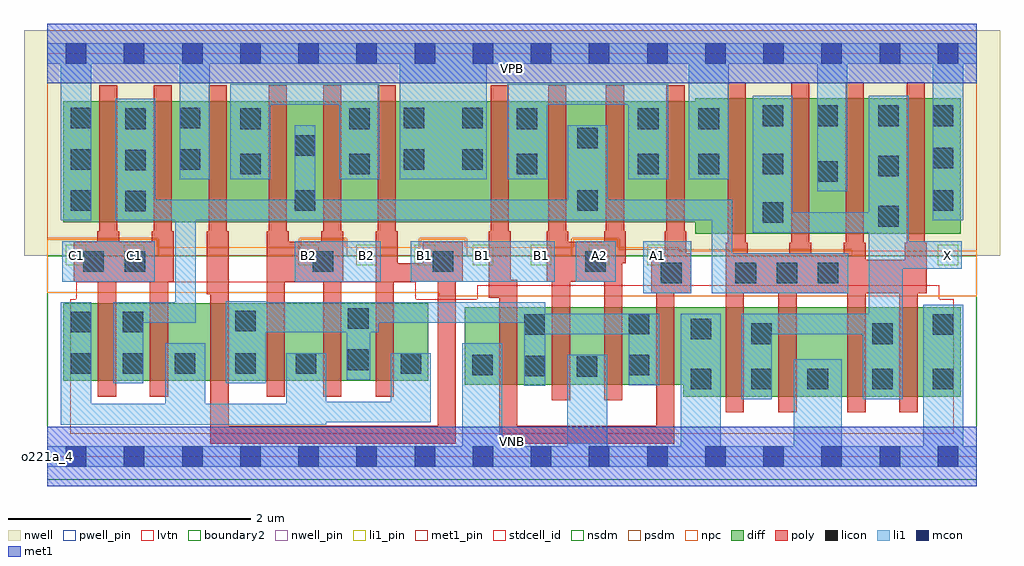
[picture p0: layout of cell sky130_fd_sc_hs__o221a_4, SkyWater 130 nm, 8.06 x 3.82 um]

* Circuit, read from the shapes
.subckt sky130_fd_sc_hs__o221a_4 A1 A2 B1 B2 C1 VGND VNB VPB VPWR X
XM1 n1 C1 n2 VNB sky130_fd_pr__nfet_01v8_lvt w=0.64 l=0.15 m=2
XM2 n3 B1 n2 VNB sky130_fd_pr__nfet_01v8_lvt w=0.64 l=0.15 m=2
XM3 n2 B2 n3 VNB sky130_fd_pr__nfet_01v8_lvt w=0.64 l=0.15 m=2
XM4 n3 A1 VGND VNB sky130_fd_pr__nfet_01v8_lvt w=0.64 l=0.15 m=2
XM5 VGND A2 n3 VNB sky130_fd_pr__nfet_01v8_lvt w=0.64 l=0.15 m=2
XM6 X n1 VGND VNB sky130_fd_pr__nfet_01v8_lvt w=0.74 l=0.15 m=4
XM7 n1 C1 VPWR VPB sky130_fd_pr__pfet_01v8 w=1 l=0.15 m=2
XM8 n4 B1 VPWR VPB sky130_fd_pr__pfet_01v8 w=1 l=0.15 m=2
XM9 n1 B2 n4 VPB sky130_fd_pr__pfet_01v8 w=1 l=0.15 m=2
XM10 n5 A1 VPWR VPB sky130_fd_pr__pfet_01v8 w=1 l=0.15 m=2
XM11 n1 A2 n5 VPB sky130_fd_pr__pfet_01v8 w=1 l=0.15 m=2
XM12 X n1 VPWR VPB sky130_fd_pr__pfet_01v8 w=1.12 l=0.15 m=4
.ends

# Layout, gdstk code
import gdstk
lib = gdstk.Library(unit=1e-6, precision=1e-09)
def R(c, l, rs):  # rectangles x0, y0, x1, y1
    for r in rs: c.add(gdstk.rectangle(r[:2], r[2:], *l))
def A(c, l, x, y, w, h, nx, ny, dx, dy):  # array of equal rectangles
    R(c, l, [(x+i*dx, y+j*dy, x+i*dx+w, y+j*dy+h) for i in range(nx) for j in range(ny)])
def P(c, l, *ps):  # polygons
    for p in ps: c.add(gdstk.Polygon(p, *l))
nwell_pin = (64, 16)
nwell = (64, 20)
diff = (65, 20)
poly = (66, 20)
licon = (66, 44)
li1_pin = (67, 16)
li1 = (67, 20)
mcon = (67, 44)
met1_pin = (68, 16)
met1 = (68, 20)
stdcell_id = (81, 4)
nsdm = (93, 44)
psdm = (94, 20)
npc = (95, 20)
pwell_pin = (122, 16)
lvtn = (125, 44)
boundary2 = (236, 0)

sky130_fd_sc_hs__o221a_4 = lib.new_cell('sky130_fd_sc_hs__o221a_4')
R(sky130_fd_sc_hs__o221a_4, nwell_pin, [(0,3.085,7.68,3.33)])
R(sky130_fd_sc_hs__o221a_4, nwell, [(-0.19,1.66,7.87,3.52)])
R(sky130_fd_sc_hs__o221a_4, diff, [(0.135,0.625,3.15,1.265)])
P(sky130_fd_sc_hs__o221a_4, diff, [(7.545,2.96),(5.355,2.96),(5.355,2.935),(0.135,2.935),(0.135,1.935),(5.355,1.935),(5.355,1.84),(7.545,1.84)],
  [(7.545,1.235),(3.45,1.235),(3.45,0.595),(5.255,0.595),(5.255,0.495),(7.545,0.495)])
P(sky130_fd_sc_hs__o221a_4, poly, [(1.045,1.86),(1.03,1.86),(1.03,3.065),(0.88,3.065),(0.88,1.86),(0.865,1.86),(0.865,1.775),(0.595,1.775),(0.595,1.86),(0.58,1.86),(0.58,3.065),(0.43,3.065),(0.43,1.86),(0.415,1.86),(0.415,1.775),(0.22,1.775),(0.22,1.445),(0.42,1.445),(0.42,0.495),(0.57,0.495),(0.57,1.445),(0.85,1.445),(0.85,0.495),(1,0.495),(1,1.445),(1.045,1.445)],
  [(2.445,1.86),(2.43,1.86),(2.43,3.065),(2.28,3.065),(2.28,1.86),(2.265,1.86),(2.265,1.775),(1.995,1.775),(1.995,1.86),(1.98,1.86),(1.98,3.065),(1.83,3.065),(1.83,1.86),(1.815,1.86),(1.815,0.495),(1.965,0.495),(1.965,1.445),(2.28,1.445),(2.28,0.495),(2.43,0.495),(2.43,1.445),(2.445,1.445)],
  [(3.435,1.775),(3.105,1.775),(3.105,1.595),(2.895,1.595),(2.895,1.86),(2.88,1.86),(2.88,3.065),(2.73,3.065),(2.73,1.86),(2.715,1.86),(2.715,0.495),(2.865,0.495),(2.865,1.445),(3.225,1.445),(3.225,0.255),(1.5,0.255),(1.5,1.86),(1.485,1.86),(1.485,3.065),(1.335,3.065),(1.335,1.86),(1.32,1.86),(1.32,1.34),(1.35,1.34),(1.35,0.105),(3.375,0.105),(3.375,1.445),(3.435,1.445)],
  [(4.78,1.86),(4.765,1.86),(4.765,3.065),(4.615,3.065),(4.615,1.86),(4.6,1.86),(4.6,1.775),(4.305,1.775),(4.305,1.86),(4.29,1.86),(4.29,3.065),(4.14,3.065),(4.14,1.86),(4.125,1.86),(4.125,1.445),(4.17,1.445),(4.17,0.465),(4.32,0.465),(4.32,1.445),(4.6,1.445),(4.6,0.465),(4.75,0.465),(4.75,1.595),(4.78,1.595)],
  [(7.265,1.765),(7.25,1.765),(7.25,3.09),(7.1,3.09),(7.1,1.765),(7.085,1.765),(7.085,1.625),(6.76,1.625),(6.76,1.765),(6.745,1.765),(6.745,3.09),(6.595,3.09),(6.595,1.765),(6.58,1.765),(6.58,1.68),(6.31,1.68),(6.31,1.765),(6.295,1.765),(6.295,3.09),(6.145,3.09),(6.145,1.765),(6.13,1.765),(6.13,1.68),(5.785,1.68),(5.785,1.765),(5.77,1.765),(5.77,3.09),(5.62,3.09),(5.62,1.765),(5.605,1.765),(5.605,0.365),(5.755,0.365),(5.755,1.35),(6.04,1.35),(6.04,0.365),(6.19,0.365),(6.19,1.35),(6.61,1.35),(6.61,0.365),(6.76,0.365),(6.76,1.35),(7.04,1.35),(7.04,0.365),(7.19,0.365),(7.19,1.35),(7.265,1.35)],
  [(5.32,1.68),(5.28,1.68),(5.28,1.86),(5.265,1.86),(5.265,3.065),(5.115,3.065),(5.115,1.86),(5.1,1.86),(5.1,1.68),(4.99,1.68),(4.99,1.35),(5.03,1.35),(5.03,0.255),(3.885,0.255),(3.885,1.46),(3.83,1.46),(3.83,1.86),(3.815,1.86),(3.815,3.065),(3.665,3.065),(3.665,1.86),(3.65,1.86),(3.65,1.31),(3.735,1.31),(3.735,0.105),(5.18,0.105),(5.18,1.35),(5.32,1.35)])
A(sky130_fd_sc_hs__o221a_4, licon, 0.195, 0.685, 0.17, 0.17, 3, 1, 0.43, 0)
A(sky130_fd_sc_hs__o221a_4, licon, 5.685, 1.43, 0.17, 0.17, 3, 1, 0.34, 0)
A(sky130_fd_sc_hs__o221a_4, licon, 6.865, 1.9, 0.17, 0.17, 1, 3, 0, 0.415)
A(sky130_fd_sc_hs__o221a_4, licon, 5.91, 1.93, 0.17, 0.17, 1, 3, 0, 0.4)
A(sky130_fd_sc_hs__o221a_4, licon, 0.645, 2.025, 0.17, 0.17, 1, 3, 0, 0.34)
A(sky130_fd_sc_hs__o221a_4, licon, 0.195, 2.03, 0.17, 0.17, 1, 3, 0, 0.34)
A(sky130_fd_sc_hs__o221a_4, licon, 7.315, 2.03, 0.17, 0.17, 1, 3, 0, 0.35)
R(sky130_fd_sc_hs__o221a_4, licon, [(5.315,0.555,5.485,0.725), (5.815,0.555,5.985,0.725), (6.28,0.555,6.45,0.725), (6.815,0.555,6.985,0.725), (7.315,0.555,7.485,0.725), (4.375,0.66,4.545,0.83), (3.94,0.665,4.11,0.835), (3.51,0.67,3.68,0.84), (4.805,0.67,4.975,0.84), (1.555,0.685,1.725,0.855), (2.055,0.685,2.225,0.855), (2.92,0.685,3.09,0.855), (2.485,0.715,2.655,0.885), (5.815,0.93,5.985,1.1), (6.815,0.93,6.985,1.1), (5.315,0.97,5.485,1.14), (3.94,1.005,4.11,1.175), (7.315,1.005,7.485,1.175), (4.805,1.01,4.975,1.18), (0.195,1.025,0.365,1.195), (0.625,1.025,0.795,1.195), (1.555,1.035,1.725,1.205), (2.485,1.055,2.655,1.225), (5.07,1.43,5.24,1.6), (0.3,1.525,0.47,1.695), (0.64,1.525,0.81,1.695), (2.195,1.525,2.365,1.695), (3.185,1.525,3.355,1.695), (4.445,1.525,4.615,1.695), (2.045,2.03,2.215,2.2), (4.38,2.03,4.55,2.2), (6.36,2.27,6.53,2.44), (1.595,2.33,1.765,2.5), (2.495,2.33,2.665,2.5), (3.88,2.33,4.05,2.5), (4.88,2.33,5.05,2.5), (5.38,2.33,5.55,2.5), (1.095,2.37,1.265,2.54), (2.945,2.37,3.115,2.54), (3.43,2.37,3.6,2.54), (2.045,2.485,2.215,2.655), (4.38,2.545,4.55,2.715), (1.595,2.705,1.765,2.875), (2.495,2.705,2.665,2.875), (3.88,2.705,4.05,2.875), (4.88,2.705,5.05,2.875), (5.38,2.705,5.55,2.875), (1.095,2.71,1.265,2.88), (2.945,2.71,3.115,2.88), (3.43,2.71,3.6,2.88), (6.36,2.73,6.53,2.9)])
A(sky130_fd_sc_hs__o221a_4, li1_pin, 2.075, 1.58, 0.17, 0.17, 7, 1, 0.48, 0)
R(sky130_fd_sc_hs__o221a_4, li1_pin, [(0.155,1.58,0.325,1.75), (0.635,1.58,0.805,1.75), (7.355,1.58,7.525,1.75)])
R(sky130_fd_sc_hs__o221a_4, li1, [(4.925,1.35,5.32,1.78), (0.125,1.445,0.89,1.78), (2.045,1.445,2.755,1.78), (3.005,1.445,4.195,1.78), (4.365,1.445,4.695,1.78)])
P(sky130_fd_sc_hs__o221a_4, li1, [(0,-0.085),(0,0.085),(3.43,0.085),(3.43,0.935),(3.76,0.935),(3.76,0.085),(4.295,0.085),(4.295,0.84),(4.625,0.84),(4.625,0.085),(5.235,0.085),(5.235,1.18),(5.565,1.18),(5.565,0.085),(6.165,0.085),(6.165,0.805),(6.565,0.805),(6.565,0.085),(7.235,0.085),(7.235,1.255),(7.565,1.255),(7.565,0.085),(7.68,0.085),(7.68,-0.085)],
  [(0,3.245),(0,3.415),(7.68,3.415),(7.68,3.245),(7.565,3.245),(7.565,1.95),(7.315,1.95),(7.315,3.245),(6.61,3.245),(6.61,2.19),(6.36,2.19),(6.36,3.245),(5.63,3.245),(5.63,2.29),(5.3,2.29),(5.3,3.245),(3.63,3.245),(3.63,2.29),(2.915,2.29),(2.915,3.245),(1.345,3.245),(1.345,2.29),(1.095,2.29),(1.095,3.245),(0.365,3.245),(0.365,1.95),(0.115,1.95),(0.115,3.245)],
  [(7.115,1.78),(7.555,1.78),(7.555,1.55),(7.065,1.55),(7.065,0.475),(6.735,0.475),(6.735,1.01),(5.985,1.01),(5.985,0.475),(5.735,0.475),(5.735,1.18),(6.785,1.18),(6.785,1.85),(5.83,1.85),(5.83,2.98),(6.16,2.98),(6.16,2.02),(6.785,2.02),(6.785,2.98),(7.115,2.98)],
  [(5.49,1.35),(5.49,1.95),(1.23,1.95),(1.23,1.105),(0.795,1.105),(0.795,0.605),(0.545,0.605),(0.545,1.275),(1.06,1.275),(1.06,1.95),(0.565,1.95),(0.565,2.955),(0.895,2.955),(0.895,2.12),(2.045,2.12),(2.045,2.735),(2.215,2.735),(2.215,2.12),(4.3,2.12),(4.3,2.735),(4.63,2.735),(4.63,2.12),(5.66,2.12),(5.66,1.68),(6.615,1.68),(6.615,1.35)],
  [(4.8,2.905),(4.13,2.905),(4.13,2.29),(3.8,2.29),(3.8,3.075),(5.13,3.075),(5.13,2.29),(4.8,2.29)],
  [(2.415,2.905),(1.845,2.905),(1.845,2.29),(1.515,2.29),(1.515,3.075),(2.745,3.075),(2.745,2.29),(2.415,2.29)],
  [(3.17,0.855),(2.84,0.855),(2.84,0.455),(2.305,0.455),(2.305,0.855),(1.975,0.855),(1.975,0.435),(1.305,0.435),(1.305,0.935),(0.975,0.935),(0.975,0.435),(0.365,0.435),(0.365,1.275),(0.115,1.275),(0.115,0.265),(2.305,0.265),(2.305,0.285),(3.17,0.285)],
  [(5.055,1.18),(4.115,1.18),(4.115,1.275),(1.805,1.275),(1.805,1.285),(1.475,1.285),(1.475,0.605),(1.805,0.605),(1.805,1.025),(2.475,1.025),(2.475,0.635),(2.67,0.635),(2.67,1.025),(2.74,1.025),(2.74,1.105),(3.94,1.105),(3.94,0.585),(4.115,0.585),(4.115,1.01),(4.805,1.01),(4.805,0.59),(5.055,0.59)])
A(sky130_fd_sc_hs__o221a_4, mcon, 0.155, -0.085, 0.17, 0.17, 16, 2, 0.48, 3.33)
R(sky130_fd_sc_hs__o221a_4, met1_pin, [(0,0,7.68,0.245), (0,3.085,7.68,3.33)])
R(sky130_fd_sc_hs__o221a_4, met1, [(0,-0.245,7.68,0.245), (0,3.085,7.68,3.575)])
R(sky130_fd_sc_hs__o221a_4, stdcell_id, [(0,0,7.68,3.33)])
R(sky130_fd_sc_hs__o221a_4, nsdm, [(0,-0.19,7.68,1.66)])
P(sky130_fd_sc_hs__o221a_4, psdm, [(7.68,3.52),(0,3.52),(0,1.805),(0.92,1.805),(0.92,1.66),(2.085,1.66),(2.085,1.805),(2.475,1.805),(2.475,1.66),(3.075,1.66),(3.075,1.805),(3.465,1.805),(3.465,1.66),(4.335,1.66),(4.335,1.805),(4.725,1.805),(4.725,1.71),(6.645,1.71),(6.645,1.66),(7.68,1.66)])
P(sky130_fd_sc_hs__o221a_4, npc, [(7.68,1.7),(5.215,1.7),(5.215,1.73),(4.715,1.73),(4.715,1.795),(4.345,1.795),(4.345,1.73),(3.455,1.73),(3.455,1.795),(3.085,1.795),(3.085,1.73),(2.465,1.73),(2.465,1.795),(2.095,1.795),(2.095,1.73),(0.91,1.73),(0.91,1.795),(0,1.795),(0,1.355),(3.24,1.355),(3.24,1.325),(7.68,1.325)])
R(sky130_fd_sc_hs__o221a_4, pwell_pin, [(0,0,7.68,0.245)])
P(sky130_fd_sc_hs__o221a_4, lvtn, [(7.49,1.3),(7.37,1.3),(7.37,1.415),(3.555,1.415),(3.555,1.3),(3.045,1.3),(3.045,1.445),(0.24,1.445),(0.24,1.3),(0.19,1.3),(0.19,0.19),(7.49,0.19)])
R(sky130_fd_sc_hs__o221a_4, boundary2, [(0,0,7.68,3.33)])
sky130_fd_sc_hs__o221a_4.add(gdstk.Label('o221a_4', (0,0), layer=83, texttype=44))
sky130_fd_sc_hs__o221a_4.add(gdstk.Label('VNB', (3.84,0.123), layer=64, texttype=59))
sky130_fd_sc_hs__o221a_4.add(gdstk.Label('VPB', (3.84,3.208), layer=64, texttype=5))
sky130_fd_sc_hs__o221a_4.add(gdstk.Label('VPWR', (3.84,3.208), layer=68, texttype=5))
sky130_fd_sc_hs__o221a_4.add(gdstk.Label('VGND', (3.84,0.123), layer=68, texttype=5))
sky130_fd_sc_hs__o221a_4.add(gdstk.Label('X', (7.44,1.665), layer=67, texttype=5))
sky130_fd_sc_hs__o221a_4.add(gdstk.Label('A1', (5.04,1.665), layer=67, texttype=5))
sky130_fd_sc_hs__o221a_4.add(gdstk.Label('A2', (4.56,1.665), layer=67, texttype=5))
sky130_fd_sc_hs__o221a_4.add(gdstk.Label('B1', (3.12,1.665), layer=67, texttype=5))
sky130_fd_sc_hs__o221a_4.add(gdstk.Label('B1', (3.6,1.665), layer=67, texttype=5))
sky130_fd_sc_hs__o221a_4.add(gdstk.Label('B1', (4.08,1.665), layer=67, texttype=5))
sky130_fd_sc_hs__o221a_4.add(gdstk.Label('B2', (2.16,1.665), layer=67, texttype=5))
sky130_fd_sc_hs__o221a_4.add(gdstk.Label('B2', (2.64,1.665), layer=67, texttype=5))
sky130_fd_sc_hs__o221a_4.add(gdstk.Label('C1', (0.24,1.665), layer=67, texttype=5))
sky130_fd_sc_hs__o221a_4.add(gdstk.Label('C1', (0.72,1.665), layer=67, texttype=5))

lib.write_gds('sky130_fd_sc_hs__o221a_4.gds')
